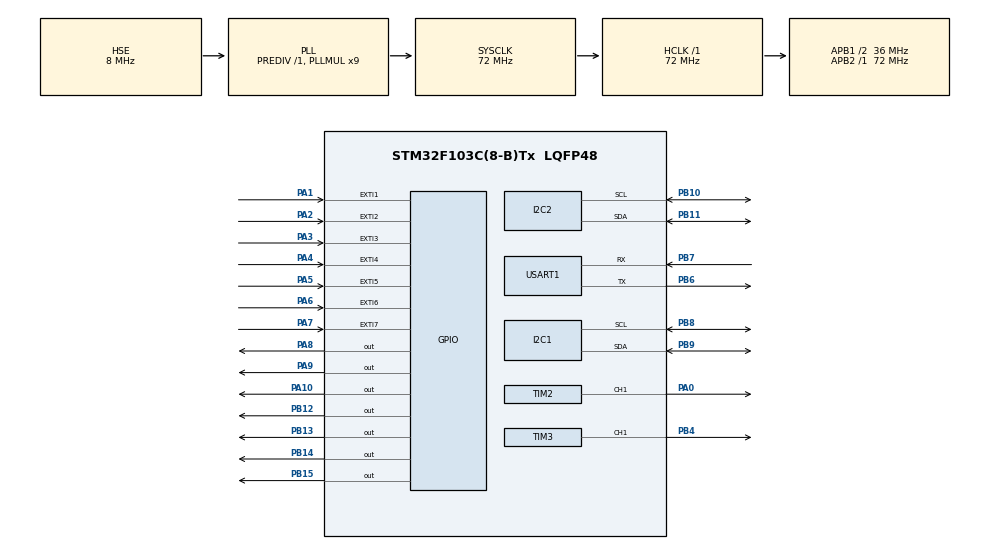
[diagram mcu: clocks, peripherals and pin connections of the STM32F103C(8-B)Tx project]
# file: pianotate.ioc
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I2C1.I2C_Mode=I2C_Fast
I2C2.I2C_Mode=I2C_Fast
Mcu.Family=STM32F1
Mcu.Name=STM32F103C(8-B)Tx
Mcu.Package=LQFP48
NVIC.EXTI1_IRQn=true\:0\:0\:false\:false\:true\:true\:true\:true
NVIC.EXTI2_IRQn=true\:0\:0\:false\:false\:true\:true\:true\:true
NVIC.EXTI3_IRQn=true\:0\:0\:false\:false\:true\:true\:true\:true
NVIC.EXTI4_IRQn=true\:0\:0\:false\:false\:true\:true\:true\:true
NVIC.EXTI9_5_IRQn=true\:0\:0\:false\:false\:true\:true\:true\:true
NVIC.I2C1_ER_IRQn=true\:0\:0\:false\:false\:true\:true\:true\:true
NVIC.I2C1_EV_IRQn=true\:0\:0\:false\:false\:true\:true\:true\:true
NVIC.PriorityGroup=NVIC_PRIORITYGROUP_4
NVIC.TIM4_IRQn=true\:0\:0\:false\:false\:true\:true\:true\:true
PA0-WKUP.Signal=S_TIM2_CH1_ETR
PA1.GPIO_ModeDefaultEXTI=GPIO_MODE_IT_RISING_FALLING
PA1.GPIO_PuPd=GPIO_PULLUP
PA1.Signal=GPXTI1
PA10.Signal=GPIO_Output
PA13.Mode=Serial_Wire
PA13.Signal=SYS_JTMS-SWDIO
PA14.Mode=Serial_Wire
PA14.Signal=SYS_JTCK-SWCLK
PA2.GPIO_ModeDefaultEXTI=GPIO_MODE_IT_RISING_FALLING
PA2.GPIO_PuPd=GPIO_PULLUP
PA2.Signal=GPXTI2
PA3.GPIO_ModeDefaultEXTI=GPIO_MODE_IT_RISING_FALLING
PA3.GPIO_PuPd=GPIO_PULLUP
PA3.Signal=GPXTI3
PA4.GPIO_ModeDefaultEXTI=GPIO_MODE_IT_RISING_FALLING
PA4.GPIO_PuPd=GPIO_PULLUP
PA4.Signal=GPXTI4
PA5.GPIO_ModeDefaultEXTI=GPIO_MODE_IT_RISING_FALLING
PA5.GPIO_PuPd=GPIO_PULLUP
PA5.Signal=GPXTI5
PA6.GPIO_ModeDefaultEXTI=GPIO_MODE_IT_RISING_FALLING
PA6.GPIO_PuPd=GPIO_PULLUP
PA6.Signal=GPXTI6
PA7.GPIO_ModeDefaultEXTI=GPIO_MODE_IT_RISING_FALLING
PA7.GPIO_PuPd=GPIO_PULLUP
PA7.Signal=GPXTI7
PA8.Signal=GPIO_Output
PA9.Signal=GPIO_Output
PB10.Mode=I2C
PB10.Signal=I2C2_SCL
PB11.Mode=I2C
PB11.Signal=I2C2_SDA
PB12.Signal=GPIO_Output
PB13.Signal=GPIO_Output
PB14.Signal=GPIO_Output
PB15.Signal=GPIO_Output
PB4.Signal=S_TIM3_CH1
PB6.Mode=Asynchronous
PB6.Signal=USART1_TX
PB7.Mode=Asynchronous
PB7.Signal=USART1_RX
PB8.Mode=I2C
PB8.Signal=I2C1_SCL
PB9.Mode=I2C
PB9.Signal=I2C1_SDA
PD0-OSC_IN.Mode=HSE-External-Oscillator
PD0-OSC_IN.Signal=RCC_OSC_IN
PD1-OSC_OUT.Mode=HSE-External-Oscillator
PD1-OSC_OUT.Signal=RCC_OSC_OUT
ProjectManager.HeapSize=0x200
ProjectManager.StackSize=0x400
ProjectManager.TargetToolchain=CMake
RCC.AHBFreq_Value=72000000
RCC.APB1CLKDivider=RCC_HCLK_DIV2
RCC.APB1Freq_Value=36000000
RCC.APB1TimFreq_Value=72000000
RCC.APB2Freq_Value=72000000
RCC.APB2TimFreq_Value=72000000
RCC.HCLKFreq_Value=72000000
RCC.PLLMUL=RCC_PLL_MUL9
RCC.PLLSourceVirtual=RCC_PLLSOURCE_HSE
RCC.SYSCLKFreq_VALUE=72000000
RCC.SYSCLKSource=RCC_SYSCLKSOURCE_PLLCLK
RCC.USBFreq_Value=72000000
SH.S_TIM2_CH1_ETR.0=TIM2_CH1,PWM Generation1 CH1
SH.S_TIM3_CH1.0=TIM3_CH1,PWM Generation1 CH1
TIM2.Channel-PWM\ Generation1\ CH1=TIM_CHANNEL_1
TIM2.Prescaler=7
TIM3.Channel-PWM\ Generation1\ CH1=TIM_CHANNEL_1
TIM3.Prescaler=7
TIM4.Period=999
TIM4.Prescaler=71
USART1.VirtualMode=VM_ASYNC
VP_TIM4_VS_ClockSourceINT.Mode=Internal
board=custom

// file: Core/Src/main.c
/* USER CODE BEGIN Header */
/**
 ******************************************************************************
 * @file           : main.c
 * @brief          : Main program body
 ******************************************************************************
 * @attention
 *
 * Copyright (c) 2026 STMicroelectronics.
 * All rights reserved.
 *
 * This software is licensed under terms that can be found in the LICENSE file
 * in the root directory of this software component.
 * If no LICENSE file comes with this software, it is provided AS-IS.
 *
 ******************************************************************************
 */
/* USER CODE END Header */
#include "main.h"
#include "beeper.h"
#include "font.h"
#include "fourkeys.h"
#include "gpio.h"
#include "i2c.h"
#include "stm32f1xx_hal.h"
#include "tim.h"
#include "usart.h"

/* USER CODE BEGIN Includes */
#include "App/menu.h"
#include "App/music.h"
#include "App/state.h"
#include "BSP/led.h"
#include "BSP/mpu6050.h"
#include "BSP/oled.h"
#include "BSP/timer.h"
#include <stdint.h>
#include <sys/_intsup.h>

/* USER CODE END Includes */

void SystemClock_Config(void);

int main(void) {

  /* MCU Configuration--------------------------------------------------------*/

  /* Reset of all peripherals, Initializes the Flash interface and the Systick.
   */
  HAL_Init();

  /* Configure the system clock */
  SystemClock_Config();

  /* Initialize all configured peripherals */
  MX_GPIO_Init();
  MX_TIM4_Init();
  /* USER CODE BEGIN 2 */
  HAL_TIM_Base_Start_IT(&htim4);
  uint32_t startupAnimationStart = Timer;
  LED_BreathingStart();

  MX_I2C1_Init();
  MX_TIM2_Init();
  MX_USART1_UART_Init();
  MX_TIM3_Init();
  MX_I2C2_Init();
  OLED_Init();

  Font_DrawText(&OLED1, 45, 32 - 4, "LOADING");
  Font_DrawText(&OLED2, 40, 32 - 4, "Pianotate");
  OLED_UpdateState(&OLED1);
  OLED_UpdateState(&OLED2);
  HAL_Delay(20);
  MPU6050_Init(&MPU6050_Device, &hi2c2, MPU6050_ADDR);
  Menu_Init();
  while ((uint32_t)(Timer - startupAnimationStart) < 5000u) {
  }
  LED_BreathingStop();
  MenuState.isActivate = true;
  MenuState.page = MENU_PAGE_MODE;
  Beeper_Start(&BEEPER1);
  /* USER CODE END 2 */

  /* Infinite loop */
  while (1) {

    /* USER CODE BEGIN 3 */
    if (Flag1ms) {
      Flag1ms = 0;
      State_Update();
    }
    // static uint8_t note=0;
    // Beeper_Set(&BEEPER1, PSC, ToneData.words[note]);
    // HAL_Delay(1000);
    // note++;
    // note%=12*7;
  }
  /* USER CODE END 3 */
}

void SystemClock_Config(void) {
  RCC_OscInitTypeDef RCC_OscInitStruct = {0};
  RCC_ClkInitTypeDef RCC_ClkInitStruct = {0};

  /** Initializes the RCC Oscillators according to the specified parameters
   * in the RCC_OscInitTypeDef structure.
   */
  RCC_OscInitStruct.OscillatorType = RCC_OSCILLATORTYPE_HSE;
  RCC_OscInitStruct.HSEState = RCC_HSE_ON;
  RCC_OscInitStruct.HSEPredivValue = RCC_HSE_PREDIV_DIV1;
  RCC_OscInitStruct.HSIState = RCC_HSI_ON;
  RCC_OscInitStruct.PLL.PLLState = RCC_PLL_ON;
  RCC_OscInitStruct.PLL.PLLSource = RCC_PLLSOURCE_HSE;
  RCC_OscInitStruct.PLL.PLLMUL = RCC_PLL_MUL9;
  if (HAL_RCC_OscConfig(&RCC_OscInitStruct) != HAL_OK) {
    Error_Handler();
  }

  /** Initializes the CPU, AHB and APB buses clocks
   */
  RCC_ClkInitStruct.ClockType = RCC_CLOCKTYPE_HCLK | RCC_CLOCKTYPE_SYSCLK |
                                RCC_CLOCKTYPE_PCLK1 | RCC_CLOCKTYPE_PCLK2;
  RCC_ClkInitStruct.SYSCLKSource = RCC_SYSCLKSOURCE_PLLCLK;
  RCC_ClkInitStruct.AHBCLKDivider = RCC_SYSCLK_DIV1;
  RCC_ClkInitStruct.APB1CLKDivider = RCC_HCLK_DIV2;
  RCC_ClkInitStruct.APB2CLKDivider = RCC_HCLK_DIV1;

  if (HAL_RCC_ClockConfig(&RCC_ClkInitStruct, FLASH_LATENCY_2) != HAL_OK) {
    Error_Handler();
  }
}

/* USER CODE BEGIN 4 */
/* 用户应用代码可以在这里读取 MPU6050_AccelDetectedFlag 和
 * MPU6050_RotatingFlag，并按需要执行自己的动作。 */
/* USER CODE END 4 */

void Error_Handler(void) {
  __disable_irq();
  while (1) {
  }
}
#ifdef USE_FULL_ASSERT
/**
 * @brief  Reports the name of the source file and the source line number
 *         where the assert_param error has occurred.
 * @param  file: pointer to the source file name
 * @param  line: assert_param error line source number
 * @retval None
 */
void assert_failed(uint8_t *file, uint32_t line) {
  /* USER CODE BEGIN 6 */
  /* User can add his own implementation to report the file name and line
     number, ex: printf("Wrong parameters value: file %s on line %d\r\n", file,
     line) */
  /* USER CODE END 6 */
}
#endif /* USE_FULL_ASSERT */
